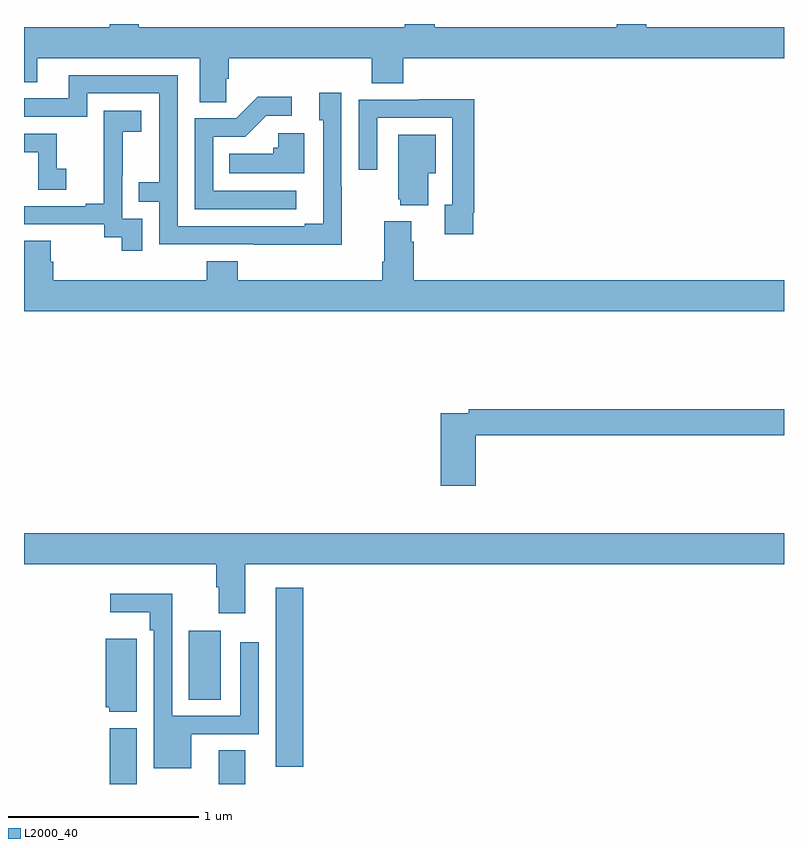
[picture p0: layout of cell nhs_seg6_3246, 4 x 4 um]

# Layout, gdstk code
import gdstk
lib = gdstk.Library(unit=1e-6, precision=1e-09)
def R(c, l, rs):  # rectangles x0, y0, x1, y1
    for r in rs: c.add(gdstk.rectangle(r[:2], r[2:], *l))
def P(c, l, *ps):  # polygons
    for p in ps: c.add(gdstk.Polygon(p, *l))
L2000_40 = (2000, 40)

nhs_seg6_3246 = lib.new_cell('nhs_seg6_3246')
R(nhs_seg6_3246, L2000_40, [(301.451,959.5,301.594,959.794), (302.024,959.5,302.164,959.678), (302.324,959.592,302.471,960.532), (301.868,959.944,302.035,960.307)])
P(nhs_seg6_3246, L2000_40, [(302.064,963.211),(302.078,963.211),(302.078,963.32),(302.831,963.32),(302.831,963.187),(302.996,963.187),(302.996,963.32),(305,963.32),(305,963.484),(304.274,963.484),(304.274,963.5),(304.121,963.5),(304.121,963.484),(303.161,963.484),(303.161,963.5),(303.005,963.5),(303.005,963.484),(301.603,963.484),(301.603,963.5),(301.451,963.5),(301.451,963.484),(301,963.484),(301,963.193),(301.069,963.193),(301.069,963.32),(301.925,963.32),(301.925,963.088),(302.064,963.088)],
  [(302.673,962.645),(302.67,962.645),(302.67,963.139),(302.555,963.139),(302.555,962.994),(302.574,962.994),(302.574,962.449),(302.477,962.449),(302.477,962.436),(301.809,962.436),(301.809,963.231),(301.235,963.231),(301.235,963.108),(301,963.108),(301,963.012),(301.332,963.012),(301.332,963.135),(301.713,963.135),(301.713,962.666),(301.603,962.666),(301.603,962.565),(301.713,962.565),(301.713,962.34),(302.209,962.34),(302.209,962.339),(302.673,962.339)],
  [(302.434,962.622),(301.995,962.622),(301.995,962.907),(302.164,962.907),(302.275,963.018),(302.41,963.018),(302.41,963.116),(302.231,963.116),(302.118,963.003),(301.899,963.003),(301.899,962.526),(302.434,962.526)],
  [(303.364,962.506),(303.371,962.506),(303.371,963.104),(303.079,963.104),(303.079,963.102),(302.763,963.102),(302.763,962.733),(302.859,962.733),(302.859,963.006),(303.255,963.006),(303.255,962.55),(303.215,962.55),(303.215,962.394),(303.364,962.394)],
  [(301.623,962.475),(301.518,962.475),(301.518,962.705),(301.52,962.705),(301.52,962.933),(301.618,962.933),(301.618,963.043),(301.42,963.043),(301.42,962.837),(301.421,962.837),(301.421,962.554),(301.325,962.554),(301.325,962.541),(301,962.541),(301,962.445),(301.422,962.445),(301.422,962.377),(301.515,962.377),(301.515,962.307),(301.623,962.307)],
  [(302.476,962.926),(302.337,962.926),(302.337,962.85),(302.311,962.85),(302.311,962.818),(302.08,962.818),(302.08,962.714),(302.476,962.714)],
  [(301.222,962.737),(301.173,962.737),(301.173,962.922),(301,962.922),(301,962.826),(301.074,962.826),(301.074,962.628),(301.222,962.628)],
  [(303.127,962.714),(303.166,962.714),(303.166,962.917),(302.969,962.917),(302.969,962.577),(302.981,962.577),(302.981,962.546),(303.127,962.546)],
  [(305,962.152),(303.05,962.152),(303.05,962.354),(303.037,962.354),(303.037,962.461),(302.897,962.461),(302.897,962.248),(302.885,962.248),(302.885,962.152),(302.126,962.152),(302.126,962.251),(301.961,962.251),(301.961,962.152),(301.154,962.152),(301.154,962.25),(301.141,962.25),(301.141,962.36),(301,962.36),(301,961.988),(305,961.988)],
  [(303.377,961.336),(305,961.336),(305,961.472),(303.34,961.472),(303.34,961.452),(303.194,961.452),(303.194,961.071),(303.377,961.071)],
  [(302.164,960.656),(305,960.656),(305,960.82),(301,960.82),(301,960.656),(302.012,960.656),(302.012,960.536),(302.024,960.536),(302.024,960.399),(302.164,960.399)],
  [(301.879,959.763),(302.235,959.763),(302.235,960.247),(302.139,960.247),(302.139,959.859),(301.779,959.859),(301.779,960.502),(301.455,960.502),(301.455,960.404),(301.663,960.404),(301.663,960.308),(301.683,960.308),(301.683,959.582),(301.879,959.582)],
  [(301.594,960.265),(301.43,960.265),(301.43,959.904),(301.449,959.904),(301.449,959.879),(301.594,959.879)])

lib.write_gds('nhs_seg6_3246.gds')
